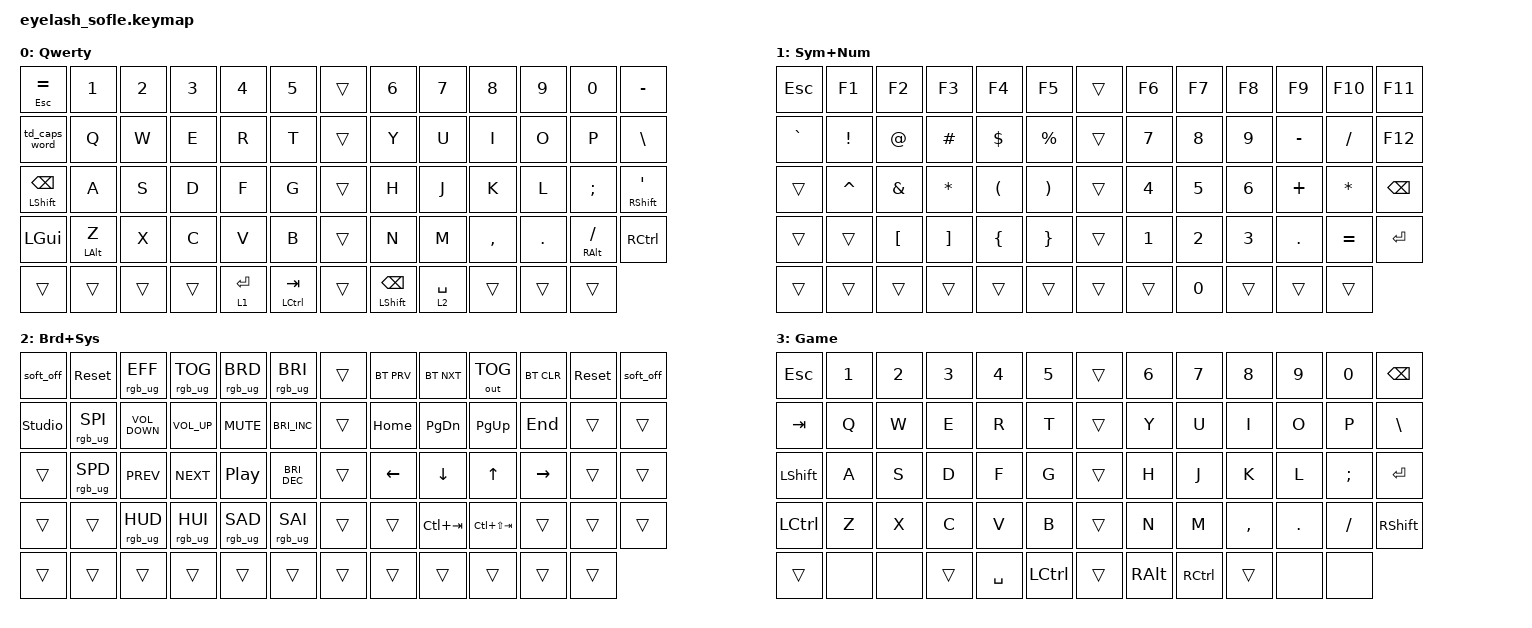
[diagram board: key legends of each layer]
#define ZMK_POINTING_DEFAULT_MOVE_VAL 1200  // 600
#define ZMK_POINTING_DEFAULT_SCRL_VAL 25   // 10

#include <input/processors.dtsi>
#include <zephyr/dt-bindings/input/input-event-codes.h>
#include <behaviors.dtsi>
#include <dt-bindings/zmk/bt.h>
#include <dt-bindings/zmk/keys.h>
#include <dt-bindings/zmk/outputs.h>
#include <dt-bindings/zmk/rgb.h>

&mmv_input_listener { input-processors = <&zip_xy_scaler 2 1>; };

&msc_input_listener { input-processors = <&zip_scroll_scaler 2 1>; };

/ {
    combos {
        compatible = "zmk,combos";

        Switch-to-Game {
            bindings = <&tog 3>;
            key-positions = <55 61>;
        };

        jk-to-Escape {
            bindings = <&kp ESC>;
            key-positions = <34 35>;
            layers = <0>;
        };
    };

    behaviors {
        td_caps_word: td_caps_word {
            compatible = "zmk,behavior-tap-dance";
            label = "TD_CAPS_WORD";
            #binding-cells = <0>;
            bindings = <&caps_word>, <&kp CAPSLOCK>;
        };

        mt_z_pref: mod_tap_z_preferred {
            compatible = "zmk,behavior-hold-tap";
            #binding-cells = <2>;
            flavor = "tap-preferred";
            tapping-term-ms = <200>;
            bindings = <&kp>, <&kp>;
        };

        mt_slash_pref: mod_tap_slash_preferred {
            compatible = "zmk,behavior-hold-tap";
            #binding-cells = <2>;
            flavor = "tap-preferred";
            tapping-term-ms = <200>;
            bindings = <&kp>, <&kp>;
        };
    };

    keymap {
        compatible = "zmk,keymap";

        Main0 {
            label = "Qwerty";
            bindings = <
&mt ESCAPE EQUAL          &kp NUMBER_1           &kp NUMBER_2  &kp NUMBER_3  &kp NUMBER_4  &kp NUMBER_5            &trans  &kp NUMBER_6              &kp NUMBER_7  &kp NUMBER_8  &kp NUMBER_9  &kp NUMBER_0                    &kp MINUS
&td_caps_word             &kp Q                  &kp W         &kp E         &kp R         &kp T                   &trans  &kp Y                     &kp U         &kp I         &kp O         &kp P                           &kp BACKSLASH
&mt LEFT_SHIFT BACKSPACE  &kp A                  &kp S         &kp D         &kp F         &kp G                   &trans  &kp H                     &kp J         &kp K         &kp L         &kp SEMICOLON                   &mt RIGHT_SHIFT SINGLE_QUOTE
&kp LEFT_GUI              &mt_z_pref LEFT_ALT Z  &kp X         &kp C         &kp V         &kp B                   &trans  &kp N                     &kp M         &kp COMMA     &kp PERIOD    &mt_slash_pref RIGHT_ALT SLASH  &kp RIGHT_CONTROL
&trans                    &trans                 &trans        &trans        &lt 1 ENTER   &mt LEFT_CONTROL TAB    &trans  &mt LEFT_SHIFT BACKSPACE  &lt 2 SPACE   &trans        &trans        &trans
            >;
        };

        Sym+Num1 {
            label = "Sym+Num";
            bindings = <
&kp ESCAPE  &kp F1           &kp F2            &kp F3             &kp F4                &kp F5                   &trans  &kp F6        &kp F7        &kp F8        &kp F9     &kp F10    &kp F11
&kp GRAVE   &kp EXCLAMATION  &kp AT_SIGN       &kp HASH           &kp DOLLAR            &kp PERCENT              &trans  &kp N7        &kp N8        &kp N9        &kp MINUS  &kp SLASH  &kp F12
&trans      &kp CARET        &kp AMPERSAND     &kp ASTERISK       &kp LEFT_PARENTHESIS  &kp RIGHT_PARENTHESIS    &trans  &kp NUMBER_4  &kp N5        &kp NUMBER_6  &kp PLUS   &kp STAR   &kp BACKSPACE
&trans      &trans           &kp LEFT_BRACKET  &kp RIGHT_BRACKET  &kp LEFT_BRACE        &kp RIGHT_BRACE          &trans  &kp NUMBER_1  &kp NUMBER_2  &kp NUMBER_3  &kp DOT    &kp EQUAL  &kp ENTER
&trans      &trans           &trans            &trans             &trans                &trans                   &trans  &trans        &kp NUMBER_0  &trans        &trans     &trans
            >;
        };

        Brd+Sys2 {
            label = "Brd+Sys";
            bindings = <
&soft_off       &sys_reset       &rgb_ug RGB_EFF    &rgb_ug RGB_TOG  &rgb_ug RGB_BRD   &rgb_ug RGB_BRI         &trans  &bt BT_PRV  &bt BT_NXT   &out OUT_TOG     &bt BT_CLR  &sys_reset  &soft_off
&studio_unlock  &rgb_ug RGB_SPI  &kp C_VOLUME_DOWN  &kp C_VOLUME_UP  &kp C_MUTE        &kp C_BRIGHTNESS_INC    &trans  &kp HOME    &kp PG_DN    &kp PG_UP        &kp END     &trans      &trans
&trans          &rgb_ug RGB_SPD  &kp C_PREV         &kp C_NEXT       &kp C_PLAY_PAUSE  &kp C_BRIGHTNESS_DEC    &trans  &kp LEFT    &kp DOWN     &kp UP           &kp RIGHT   &trans      &trans
&trans          &trans           &rgb_ug RGB_HUD    &rgb_ug RGB_HUI  &rgb_ug RGB_SAD   &rgb_ug RGB_SAI         &trans  &trans      &kp LC(TAB)  &kp LC(LS(TAB))  &trans      &trans      &trans
&trans          &trans           &trans             &trans           &trans            &trans                  &trans  &trans      &trans       &trans           &trans      &trans
            >;
        };

        Game3 {
            label = "Game";
            bindings = <
&kp ESC    &kp N1  &kp N2  &kp N3  &kp N4     &kp N5       &trans  &kp N6    &kp N7     &kp N8     &kp N9   &kp N0    &kp BSPC
&kp TAB    &kp Q   &kp W   &kp E   &kp R      &kp T        &trans  &kp Y     &kp U      &kp I      &kp O    &kp P     &kp BSLH
&kp LSHFT  &kp A   &kp S   &kp D   &kp F      &kp G        &trans  &kp H     &kp J      &kp K      &kp L    &kp SEMI  &kp RET
&kp LCTRL  &kp Z   &kp X   &kp C   &kp V      &kp B        &trans  &kp N     &kp M      &kp COMMA  &kp DOT  &kp FSLH  &kp RSHFT
&trans     &none   &none   &trans  &kp SPACE  &kp LCTRL    &trans  &kp RALT  &kp RCTRL  &trans     &none    &none
            >;
        };
    };
};
